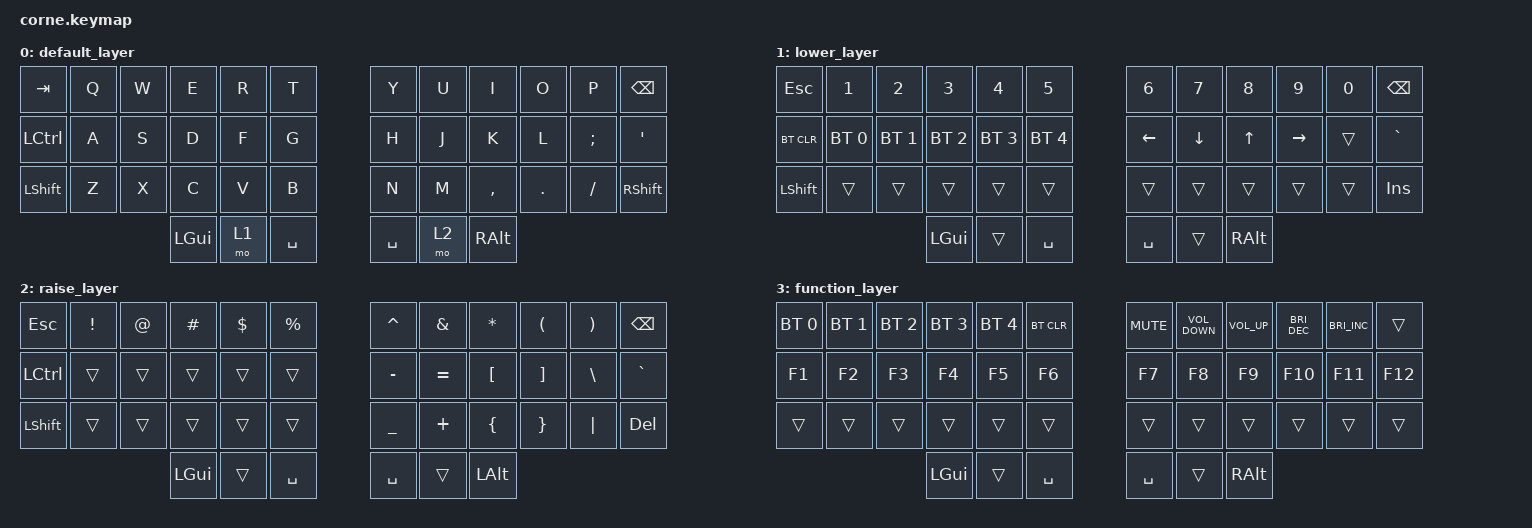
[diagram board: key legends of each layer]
/*
 * Copyright (c) 2020 The ZMK Contributors
 *
 * SPDX-License-Identifier: MIT
 */

#include <behaviors.dtsi>
#include <dt-bindings/zmk/bt.h>
#include <dt-bindings/zmk/keys.h>

/ {
    keymap {
        compatible = "zmk,keymap";

        default_layer {
            // -----------------------------------------------------------------------------------------
            // |  TAB |  Q  |  W  |  E  |  R  |  T  |   |  Y  |  U   |  I  |  O  |  P  | BSPC |
            // | CTRL |  A  |  S  |  D  |  F  |  G  |   |  H  |  J   |  K  |  L  |  ;  | RET  |
            // | SHFT |  Z  |  X  |  C  |  V  |  B  |   |  N  |  M   |  ,  |  .  |  /  | SHFT |
            //                    | GUI | LWR | SPC |   | SPC | RSE  | ALT |

            bindings = <
&kp TAB    &kp Q  &kp W  &kp E     &kp R  &kp T        &kp Y      &kp U  &kp I      &kp O    &kp P     &kp BSPC
&kp LCTRL  &kp A  &kp S  &kp D     &kp F  &kp G        &kp H      &kp J  &kp K      &kp L    &kp SEMI  &kp SINGLE_QUOTE
&kp LSHFT  &kp Z  &kp X  &kp C     &kp V  &kp B        &kp N      &kp M  &kp COMMA  &kp DOT  &kp FSLH  &kp RSHFT
                         &kp LGUI  &mo 1  &kp SPACE    &kp SPACE  &mo 2  &kp RALT
            >;
        };

        lower_layer {
            // -----------------------------------------------------------------------------------------
            // |  ESC |  1  |  2  |  3  |  4  |  5  |   |  6  |  7  |  8  |  9  |  0  | BSPC |
            // | BTCLR| BT1 | BT2 | BT3 | BT4 | BT5 |   | LFT | DWN |  UP | RGT |     |  `   |
            // | SHFT |     |     |     |     |     |   |     |     |     |     |     | INS  |
            //                    | GUI |     | SPC |   | SPC |     | ALT |

            bindings = <
&kp ESC     &kp N1        &kp N2        &kp N3        &kp N4        &kp N5          &kp N6     &kp N7    &kp N8    &kp N9     &kp N0  &kp BSPC
&bt BT_CLR  &bt BT_SEL 0  &bt BT_SEL 1  &bt BT_SEL 2  &bt BT_SEL 3  &bt BT_SEL 4    &kp LEFT   &kp DOWN  &kp UP    &kp RIGHT  &trans  &kp GRAVE
&kp LSHFT   &trans        &trans        &trans        &trans        &trans          &trans     &trans    &trans    &trans     &trans  &kp INS
                                        &kp LGUI      &trans        &kp SPACE       &kp SPACE  &trans    &kp RALT
            >;
        };

        raise_layer {
            // -----------------------------------------------------------------------------------------
            // |  ESC |  !  |  @  |  #  |  $  |  %  |   |  ^  |  &  |  *  |  (  |  )  | BSPC |
            // | CTRL |     |     |     |     |     |   |  -  |  =  |  [  |  ]  |  \  |  `   |
            // | SHFT |     |     |     |     |     |   |  _  |  +  |  {  |  }  | "|" | DEL  |
            //                    | GUI |     | SPC |   | SPC |     | ALT |

            bindings = <
&kp ESC    &kp EXCL  &kp AT  &kp HASH  &kp DLLR  &kp PRCNT    &kp CARET  &kp AMPS   &kp ASTRK  &kp LPAR  &kp RPAR  &kp BACKSPACE
&kp LCTRL  &trans    &trans  &trans    &trans    &trans       &kp MINUS  &kp EQUAL  &kp LBKT   &kp RBKT  &kp BSLH  &kp GRAVE
&kp LSHFT  &trans    &trans  &trans    &trans    &trans       &kp UNDER  &kp PLUS   &kp LBRC   &kp RBRC  &kp PIPE  &kp DEL
                             &kp LGUI  &trans    &kp SPACE    &kp SPACE  &trans     &kp LALT
            >;
        };

        function_layer {
            bindings = <
&bt BT_SEL 0  &bt BT_SEL 1  &bt BT_SEL 2  &bt BT_SEL 3  &bt BT_SEL 4  &bt BT_CLR    &kp C_MUTE  &kp C_VOLUME_DOWN  &kp C_VOLUME_UP  &kp C_BRIGHTNESS_DEC  &kp C_BRIGHTNESS_INC  &trans
&kp F1        &kp F2        &kp F3        &kp F4        &kp F5        &kp F6        &kp F7      &kp F8             &kp F9           &kp F10               &kp F11               &kp F12
&trans        &trans        &trans        &trans        &trans        &trans        &trans      &trans             &trans           &trans                &trans                &trans
                                          &kp LGUI      &trans        &kp SPACE     &kp SPACE   &trans             &kp RALT
            >;
        };
    };

    combos {
        compatible = "zmk,combos";

        combo_caps {
            timeout-ms = <250>;
            key-positions = <24 35>;
            bindings = <&kt CAPSLOCK>;
            slow-release;
        };

        combo_enter {
            bindings = <&kp RET>;
            key-positions = <38 39>;
            timeout-ms = <250>;
            slow-release;
        };

        combo_function {
            bindings = <&mo 3>;
            key-positions = <37 40>;
            timeout-ms = <250>;
            slow-release;
        };
    };
};
